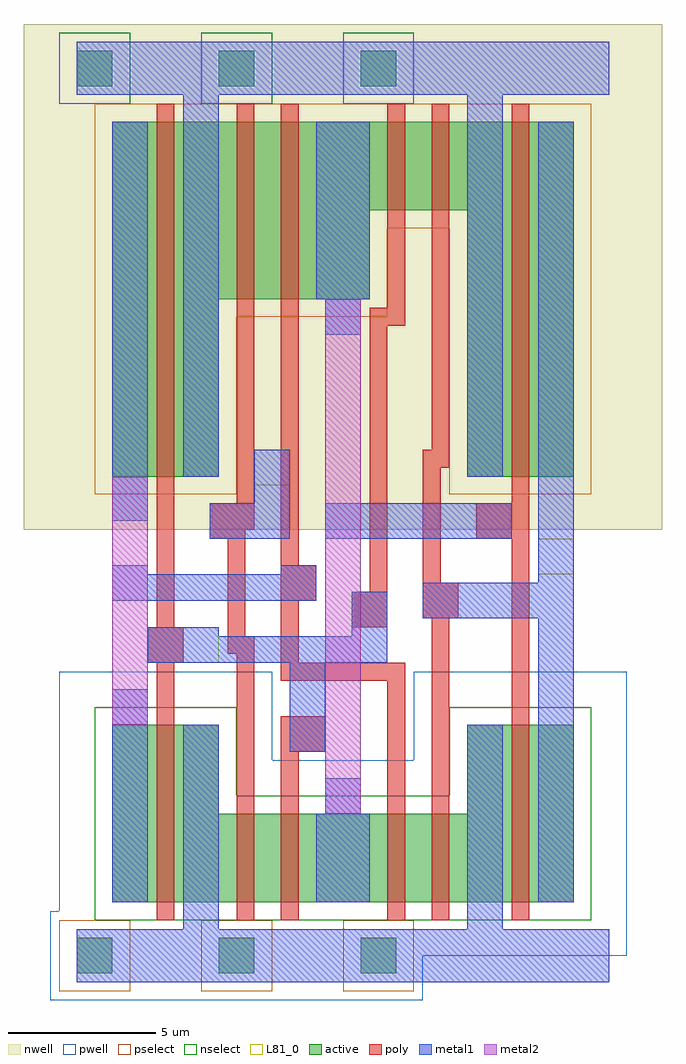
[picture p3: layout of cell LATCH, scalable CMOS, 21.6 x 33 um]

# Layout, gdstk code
import gdstk
lib = gdstk.Library(unit=1e-6, precision=1e-09)
def R(c, l, rs):  # rectangles x0, y0, x1, y1
    for r in rs: c.add(gdstk.rectangle(r[:2], r[2:], *l))
def A(c, l, x, y, w, h, nx, ny, dx, dy):  # array of equal rectangles
    R(c, l, [(x+i*dx, y+j*dy, x+i*dx+w, y+j*dy+h) for i in range(nx) for j in range(ny)])
pwell = (41, 0)
nwell = (42, 0)
active = (43, 0)
pselect = (44, 0)
nselect = (45, 0)
poly = (46, 0)
metal1 = (49, 0)
metal2 = (51, 0)
L81_0 = (81, 0)

latch = lib.new_cell('LATCH')
R(latch, pwell, [(-1.5,-1.5,11.1,0), (-1.5,0,18,1.5), (-1.2,1.5,18,6.6), (-1.2,6.6,6,9.6), (10.8,6.6,18,9.6)])
R(latch, nwell, [(-2.4,14.4,19.2,31.5)])
A(latch, active, -0.6, -0.6, 1.2, 1.2, 3, 2, 4.8, 30)
R(latch, active, [(0.6,1.8,16.2,4.8), (0.6,4.8,4.2,7.8), (12.6,4.8,16.2,7.8), (0.6,16.2,4.2,22.2), (12.6,16.2,16.2,25.2), (0.6,22.2,9.3,25.2), (0.6,25.2,16.2,28.2)])
A(latch, pselect, -1.2, -1.2, 2.4, 2.4, 3, 1, 4.8, 0)
R(latch, pselect, [(0,15.6,4.8,21.6), (12,15.6,16.8,24.6), (0,21.6,9.9,24.6), (0,24.6,16.8,28.8)])
A(latch, nselect, -1.2, 28.8, 2.4, 2.4, 3, 1, 4.8, 0)
R(latch, nselect, [(0,1.2,16.8,5.4), (0,5.4,4.8,8.4), (12,5.4,16.8,8.4)])
R(latch, poly, [(2.1,1.2,2.7,9.9), (4.8,1.2,5.4,10.2), (6.3,1.2,6.9,6.9), (9.9,1.2,10.5,9.3), (11.4,1.2,12,11.4), (14.1,1.2,14.7,14.1), (6.3,6.9,7.8,8.1), (6.3,9.3,10.5,9.9), (1.8,9.9,3,11.1), (6.3,9.9,6.9,12), (4.5,10.2,5.4,10.8), (4.5,10.8,5.1,14.1), (2.1,11.1,2.7,28.8), (8.7,11.1,9.9,12.3), (11.1,11.4,12.3,12.6), (6.3,12,7.5,13.2), (9.3,12.3,9.9,21.3), (11.1,12.6,11.7,16.5), (6.3,13.2,6.9,28.8), (3.9,14.1,5.1,14.4), (12.9,14.1,14.7,15.3), (3.9,14.4,5.4,15.3), (4.8,15.3,5.4,28.8), (14.1,15.3,14.7,28.8), (11.1,16.5,12,17.1), (11.4,17.1,12,28.8), (9.3,21.3,10.5,21.9), (9.9,21.9,10.5,28.8)])
R(latch, metal1, [(-0.6,-0.9,17.4,0.9), (3,0.9,4.2,7.8), (12.6,0.9,13.8,7.8), (0.6,1.8,1.8,9), (7.5,1.8,9.3,4.8), (15,1.8,16.2,11.4), (7.8,4.8,9,6), (6.6,6.9,7.8,9.9), (1.8,9.9,9.9,10.8), (1.8,10.8,4.2,11.1), (8.7,10.8,9.9,12.3), (11.1,11.4,16.2,12.6), (0.6,12,7.5,12.9), (15,12.6,16.2,28.2), (0.6,12.9,1.8,13.2), (6.3,12.9,7.5,13.2), (3.9,14.1,6.6,15.3), (7.8,14.1,14.1,15.3), (0.6,14.7,1.8,28.2), (5.4,15.3,6.6,17.1), (3,16.2,4.2,29.1), (12.6,16.2,13.8,29.1), (7.8,21,9,22.2), (7.5,22.2,9.3,28.2), (-0.6,29.1,17.4,30.9)])
R(latch, metal2, [(7.8,4.8,9,22.2), (0.6,7.8,1.8,16.2)])
R(latch, L81_0, [(3,9.9,4.2,11.1), (15,12.9,16.2,14.1), (5.4,15.9,6.6,17.1)])

lib.write_gds('LATCH.gds')
